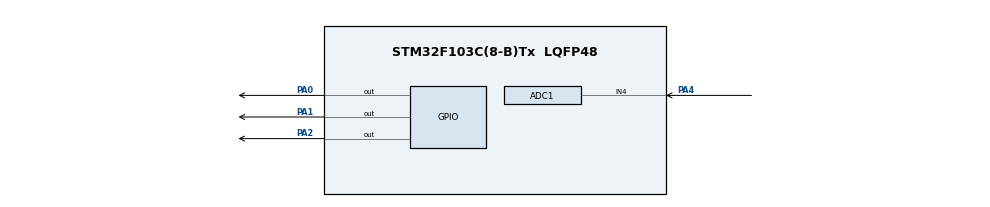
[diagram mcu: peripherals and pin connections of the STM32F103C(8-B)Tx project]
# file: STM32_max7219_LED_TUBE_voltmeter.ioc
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ADC1.Channel-12\#ChannelRegularConversion=ADC_CHANNEL_4
ADC1.NbrOfConversionFlag=1
ADC1.Rank-12\#ChannelRegularConversion=1
ADC1.SamplingTime-12\#ChannelRegularConversion=ADC_SAMPLETIME_1CYCLE_5
ADC1.master=1
Mcu.Family=STM32F1
Mcu.Name=STM32F103C(8-B)Tx
Mcu.Package=LQFP48
NVIC.PriorityGroup=NVIC_PRIORITYGROUP_4
PA0-WKUP.Signal=GPIO_Output
PA1.Signal=GPIO_Output
PA13.Mode=Serial_Wire
PA13.Signal=SYS_JTMS-SWDIO
PA14.Mode=Serial_Wire
PA14.Signal=SYS_JTCK-SWCLK
PA2.Signal=GPIO_Output
PA4.Signal=ADCx_IN4
ProjectManager.HeapSize=0x200
ProjectManager.StackSize=0x400
ProjectManager.TargetToolchain=Makefile
RCC.APB1CLKDivider=RCC_HCLK_DIV4
RCC.APB1Freq_Value=2000000
RCC.APB1TimFreq_Value=4000000
RCC.APB2Freq_Value=8000000
RCC.APB2TimFreq_Value=8000000
SH.ADCx_IN4.0=ADC1_IN4,IN4

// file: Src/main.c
/**
  ******************************************************************************
  * File Name          : main.c
  * Description        : Main program body
  ******************************************************************************
  ** This notice applies to any and all portions of this file
  * that are not between comment pairs USER CODE BEGIN and
  * USER CODE END. Other portions of this file, whether
  * inserted by the user or by software development tools
  * are owned by their respective copyright owners.
  *
  * COPYRIGHT(c) 2017 STMicroelectronics
  *
  * Redistribution and use in source and binary forms, with or without modification,
  * are permitted provided that the following conditions are met:
  *   1. Redistributions of source code must retain the above copyright notice,
  *      this list of conditions and the following disclaimer.
  *   2. Redistributions in binary form must reproduce the above copyright notice,
  *      this list of conditions and the following disclaimer in the documentation
  *      and/or other materials provided with the distribution.
  *   3. Neither the name of STMicroelectronics nor the names of its contributors
  *      may be used to endorse or promote products derived from this software
  *      without specific prior written permission.
  *
  * THIS SOFTWARE IS PROVIDED BY THE COPYRIGHT HOLDERS AND CONTRIBUTORS "AS IS"
  * AND ANY EXPRESS OR IMPLIED WARRANTIES, INCLUDING, BUT NOT LIMITED TO, THE
  * IMPLIED WARRANTIES OF MERCHANTABILITY AND FITNESS FOR A PARTICULAR PURPOSE ARE
  * DISCLAIMED. IN NO EVENT SHALL THE COPYRIGHT HOLDER OR CONTRIBUTORS BE LIABLE
  * FOR ANY DIRECT, INDIRECT, INCIDENTAL, SPECIAL, EXEMPLARY, OR CONSEQUENTIAL
  * DAMAGES (INCLUDING, BUT NOT LIMITED TO, PROCUREMENT OF SUBSTITUTE GOODS OR
  * SERVICES; LOSS OF USE, DATA, OR PROFITS; OR BUSINESS INTERRUPTION) HOWEVER
  * CAUSED AND ON ANY THEORY OF LIABILITY, WHETHER IN CONTRACT, STRICT LIABILITY,
  * OR TORT (INCLUDING NEGLIGENCE OR OTHERWISE) ARISING IN ANY WAY OUT OF THE USE
  * OF THIS SOFTWARE, EVEN IF ADVISED OF THE POSSIBILITY OF SUCH DAMAGE.
  *
  ******************************************************************************
  */
#include "main.h"
#include "stm32f1xx_hal.h"

/* USER CODE BEGIN Includes */
#include "max7219display.c"
#include "main.h"

#define PORT GPIOA
#define pinCLK GPIO_PIN_0
#define pinCS  GPIO_PIN_1
#define pinDIN GPIO_PIN_2
/* USER CODE END Includes */

ADC_HandleTypeDef hadc1;

/* USER CODE BEGIN PV */
/* Private variables ---------------------------------------------------------*/
uint32_t adcResult = 0;
/* USER CODE END PV */

void SystemClock_Config(void);
static void MX_GPIO_Init(void);
static void MX_ADC1_Init(void);

/* USER CODE BEGIN PFP */
/* Private function prototypes -----------------------------------------------*/

/* USER CODE END PFP */

/* USER CODE BEGIN 0 */

long num;
uint8_t adc_counter;
long display;

void test_display(void);
void scroll_digits(void);

// showNumberDec(num, leading_zero, length, pos);

void test_display(void)
{
  showNumberDec(12345678, 1, 8, 0);
  HAL_Delay(500);
  showNumberDec(87654321, 1, 8, 0);
  HAL_Delay(500);
  showNumberDec(88888888, 1, 8, 0);
  HAL_Delay(500);
  num = 0L;
}

void scroll_digits(void)
{
  showNumberDec(num, 0, 8, 0);
  HAL_Delay(10);
  if (++num > 99999999)
    num = 0L;
}
/* USER CODE END PFP */

/* USER CODE BEGIN 0 */

/* USER CODE END 0 */

int main(void)
{

  /* MCU Configuration----------------------------------------------------------*/

  /* Reset of all peripherals, Initializes the Flash interface and the Systick. */
  HAL_Init();

  /* USER CODE BEGIN Init */
  MAX7219_init(pinCLK, pinDIN, pinCS);
  /* USER CODE END Init */

  /* Configure the system clock */
  SystemClock_Config();

  /* Initialize all configured peripherals */
  MX_GPIO_Init();
  MX_ADC1_Init();

  /* USER CODE BEGIN 2 */
  MAX7219_init(pinCLK, pinDIN, pinCS);
  test_display();
  /* USER CODE END 2 */

  /* Infinite loop */
  while (1)
  {

  /* USER CODE BEGIN 3 */
    HAL_ADC_Start(&hadc1);
    HAL_ADC_PollForConversion(&hadc1, 100);
    adcResult += HAL_ADC_GetValue(&hadc1);
    adc_counter++; // Увеличиваем счетчик измерений
    if(adc_counter > 25) // Если количество измерений больше N
    {
      display = adcResult/adc_counter/1.246; // Вычисляем среднее значение
      adc_counter = 0; // Обнуляем счетчик измерений
      adcResult = 0; // Обнуляем значение
      HAL_ADC_Stop(&hadc1);
    }
    // scroll_digits();
    Display_presend(8, 5); // (количество цифер, яркость)
    showNumberDec(display, 0, 8, 0);
    HAL_Delay(20);
  }
  /* USER CODE END 3 */

}

/** System Clock Configuration
*/
void SystemClock_Config(void)
{

  RCC_OscInitTypeDef RCC_OscInitStruct;
  RCC_ClkInitTypeDef RCC_ClkInitStruct;
  RCC_PeriphCLKInitTypeDef PeriphClkInit;

    /**Initializes the CPU, AHB and APB busses clocks
    */
  RCC_OscInitStruct.OscillatorType = RCC_OSCILLATORTYPE_HSI;
  RCC_OscInitStruct.HSIState = RCC_HSI_ON;
  RCC_OscInitStruct.HSICalibrationValue = 16;
  RCC_OscInitStruct.PLL.PLLState = RCC_PLL_NONE;
  if (HAL_RCC_OscConfig(&RCC_OscInitStruct) != HAL_OK)
  {
    _Error_Handler(__FILE__, __LINE__);
  }

    /**Initializes the CPU, AHB and APB busses clocks
    */
  RCC_ClkInitStruct.ClockType = RCC_CLOCKTYPE_HCLK|RCC_CLOCKTYPE_SYSCLK
                              |RCC_CLOCKTYPE_PCLK1|RCC_CLOCKTYPE_PCLK2;
  RCC_ClkInitStruct.SYSCLKSource = RCC_SYSCLKSOURCE_HSI;
  RCC_ClkInitStruct.AHBCLKDivider = RCC_SYSCLK_DIV1;
  RCC_ClkInitStruct.APB1CLKDivider = RCC_HCLK_DIV4;
  RCC_ClkInitStruct.APB2CLKDivider = RCC_HCLK_DIV1;

  if (HAL_RCC_ClockConfig(&RCC_ClkInitStruct, FLASH_LATENCY_0) != HAL_OK)
  {
    _Error_Handler(__FILE__, __LINE__);
  }

  PeriphClkInit.PeriphClockSelection = RCC_PERIPHCLK_ADC;
  PeriphClkInit.AdcClockSelection = RCC_ADCPCLK2_DIV2;
  if (HAL_RCCEx_PeriphCLKConfig(&PeriphClkInit) != HAL_OK)
  {
    _Error_Handler(__FILE__, __LINE__);
  }

    /**Configure the Systick interrupt time
    */
  HAL_SYSTICK_Config(HAL_RCC_GetHCLKFreq()/1000);

    /**Configure the Systick
    */
  HAL_SYSTICK_CLKSourceConfig(SYSTICK_CLKSOURCE_HCLK);

  /* SysTick_IRQn interrupt configuration */
  HAL_NVIC_SetPriority(SysTick_IRQn, 0, 0);
}

/* ADC1 init function */
static void MX_ADC1_Init(void)
{

  ADC_ChannelConfTypeDef sConfig;

    /**Common config
    */
  hadc1.Instance = ADC1;
  hadc1.Init.ScanConvMode = ADC_SCAN_DISABLE;
  hadc1.Init.ContinuousConvMode = DISABLE;
  hadc1.Init.DiscontinuousConvMode = DISABLE;
  hadc1.Init.ExternalTrigConv = ADC_SOFTWARE_START;
  hadc1.Init.DataAlign = ADC_DATAALIGN_RIGHT;
  hadc1.Init.NbrOfConversion = 1;
  if (HAL_ADC_Init(&hadc1) != HAL_OK)
  {
    _Error_Handler(__FILE__, __LINE__);
  }

    /**Configure Regular Channel
    */
  sConfig.Channel = ADC_CHANNEL_4;
  sConfig.Rank = 1;
  sConfig.SamplingTime = ADC_SAMPLETIME_1CYCLE_5;
  if (HAL_ADC_ConfigChannel(&hadc1, &sConfig) != HAL_OK)
  {
    _Error_Handler(__FILE__, __LINE__);
  }

}

/** Configure pins as
        * Analog
        * Input
        * Output
        * EVENT_OUT
        * EXTI
*/
static void MX_GPIO_Init(void)
{

  GPIO_InitTypeDef GPIO_InitStruct;

  /* GPIO Ports Clock Enable */
  __HAL_RCC_GPIOA_CLK_ENABLE();

  /*Configure GPIO pin Output Level */
  HAL_GPIO_WritePin(GPIOA, GPIO_PIN_0|GPIO_PIN_1|GPIO_PIN_2, GPIO_PIN_RESET);

  /*Configure GPIO pins : PA0 PA1 PA2 */
  GPIO_InitStruct.Pin = GPIO_PIN_0|GPIO_PIN_1|GPIO_PIN_2;
  GPIO_InitStruct.Mode = GPIO_MODE_OUTPUT_PP;
  GPIO_InitStruct.Speed = GPIO_SPEED_FREQ_LOW;
  HAL_GPIO_Init(GPIOA, &GPIO_InitStruct);

}

void _Error_Handler(char * file, int line)
{
  while(1)
  {
  }
}

/************************ (C) COPYRIGHT STMicroelectronics *****END OF FILE****/
